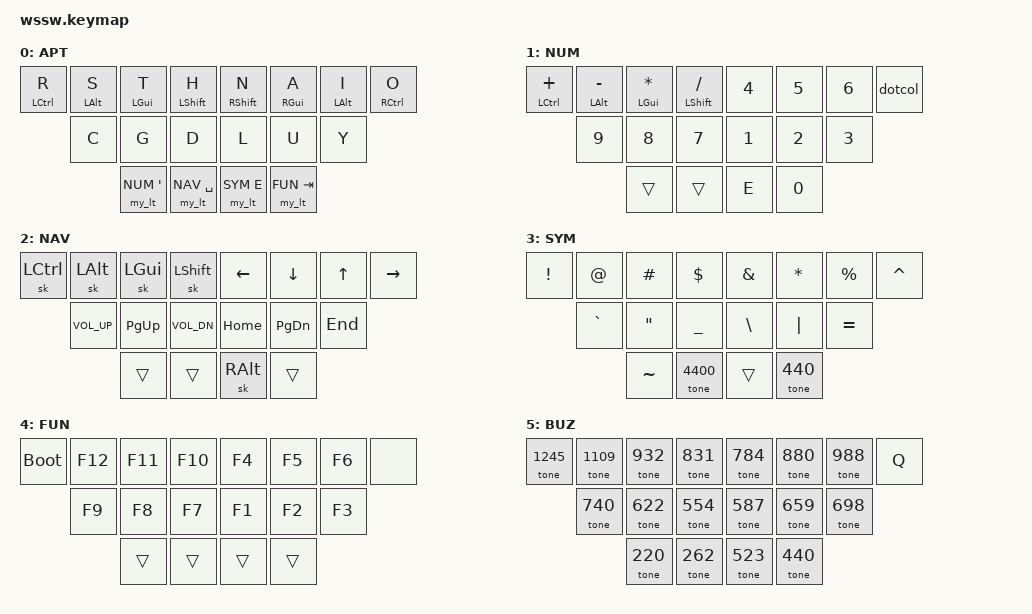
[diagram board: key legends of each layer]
#include <behaviors.dtsi>
#include <dt-bindings/zmk/keys.h>
#include <dt-bindings/zmk/bt.h>
#include <dt-bindings/zmk/outputs.h>
#include <zephyr/dt-bindings/pwm/pwm.h>

#define APT 0
#define NUM 1
#define NAV 2
#define SYM 3
#define FUN 4
#define BUZ 5

// &lt {
//     quick_tap_ms = <170>;
// };

/ {
    chosen {
        zmk,kscan = &kscan_facedown;
    };
};

&caps_word {
    continue-list = <UNDERSCORE MINUS BSPC LSHFT RSHFT>;
};

/ {
    macros {
	// promising candidate, only problem: impossible to hold shift through
	// the activation and still have it registered as held afterwards
        macro_shiftable_sch: macro_shiftable_sch {
            label = "Macro_shiftable_sch";
            compatible = "zmk,behavior-macro";
            #binding-cells = <0>;
            bindings = <
                    &macro_tap &kp S
                    &macro_release &kp RSHIFT
                    &macro_tap &kp C &kp H
            >;
            tap-ms = <10>;
        };
    };
};


#define COMBO(NAME, BINDINGS, KEYPOS) \
combo_##NAME { \
    timeout-ms = <20>; \
    bindings = <BINDINGS>; \
    key-positions = <KEYPOS>; \
};
#define SLOWCOMBO(NAME, BINDINGS, KEYPOS) \
combo_##NAME { \
    timeout-ms = <40>; \
    bindings = <BINDINGS>; \
    key-positions = <KEYPOS>; \
};
#define TCOMBO(NAME, BINDINGS, KEYPOS, TIMEOUT) \
combo_##NAME { \
    timeout-ms = <TIMEOUT>; \
    bindings = <BINDINGS>; \
    key-positions = <KEYPOS>; \
};

#define COMBOS_TOP_ROW(LTPR, LTRM, LTMI, MTII, RTIM, RTMR, RTRP) \
	SLOWCOMBO(_ltpr, LTPR, 0 1) \
	COMBO(_ltrm, LTRM, 1 2) \
	COMBO(_ltmi, LTMI, 2 3) \
	SLOWCOMBO(_mtii, MTII, 3 4) \
	COMBO(_rtim, RTIM, 4 5) \
	COMBO(_rtmr, RTMR, 5 6) \
	SLOWCOMBO(_rtrp, RTRP, 6 7)
#define COMBOS_BOT_ROW(LBRM, LBMI, MBII, RBIM, RBMR) \
	COMBO(_lbrm, LBRM, 8 9) \
	COMBO(_lbmi, LBMI, 9 10) \
	SLOWCOMBO(_mbii, MBII, 10 11) \
	COMBO(_rbim, RBIM, 11 12) \
	COMBO(_rbmr, RBMR, 12 13)


        //                      00      01      02                      03      04      05
        //              06      07      08      09                      10      11      12      13
        //                                      14      15      16      17
/{
    combos {
        compatible = "zmk,combos";
/* alphas */
                     //  0+1    1+2    2+3    3+4    4+5      5+6      6+7
        COMBOS_TOP_ROW(&kp W, &kp M, &kp B, &kp K, &kp V, &comsem, &dotcol)
               COMBOS_BOT_ROW(&kp F, &kp P, &kp J, &kp X, &kp Z)
                            //  8+9   9+10  10+11  11+12  12+13

/* usually on base layer */
        COMBO(q, &kp Q, 8 10)
        COMBO(k, &kp K, 2 10)
        COMBO(j, &kp J, 5 11)
        COMBO(shiftablesch, &macro_shiftable_sch, 1 3)
        COMBO(enter, &kp ENTER, 11 13)
        COMBO(esc, &kp ESC, 0 3)
        COMBO(semi, &kp SEMICOLON, 12 17)
        COMBO(colon, &kp COLON, 13 17)
        COMBO(minus, &kp MINUS, 11 12 17)
        COMBO(slash, &kp SLASH, 12 13 17)
        COMBO(esc2, &kp ESC, 9 10 14)
/* parentheticals */
        COMBO(lt, &kp LT, 1 10)
        COMBO(lbrc, &kp LBRC, 1 8)
        COMBO(lbkt, &kp LBKT, 2 9)
        COMBO(lpar, &kp LPAR, 3 10)
        COMBO(rt, &kp GT, 6 11)
        COMBO(rpar, &kp RPAR, 4 11)
        COMBO(rbkt, &kp RBKT, 5 12)
        COMBO(rbrc, &kp RBRC, 6 13)
/* caps */
        COMBO(caps, &caps_word, 2 5)
        COMBO(capslock, &kp CAPSLOCK, 1 6)
/* deletion */
        COMBO(bspc, &kp BSPC, 4 6)
        SLOWCOMBO(del, &kp DEL, 5 7)
        COMBO(delword, &kp LC(BSPC), 4 7)
/* music */
        SLOWCOMBO(music, &tog BUZ, 0 7 14 17)
    };
};

        //                      00      01      02                      03      04      05
        //              06      07      08      09                      10      11      12      13
        //                                      14      15      16      17

/ {

    behaviors {
        hl: homerow_mods_left {
            compatible = "zmk,behavior-hold-tap";
            label = "homerow mods left";
            #binding-cells = <2>;
            // flavor = "tap-preferred";
            flavor = "balanced";
            tapping-term-ms = <150>;
            quick-tap-ms = <100>;
            // global-quick-tap;
            bindings = <&kp>, <&kp>;
            // opposite side hand keys
            hold-trigger-key-positions = <4 5 6 7 11 12 13 14 15 16 17>;
        };
        hr: homerow_mods_right {
            compatible = "zmk,behavior-hold-tap";
            label = "homerow mods right";
            #binding-cells = <2>;
            // flavor = "tap-preferred";
            flavor = "balanced";
            tapping-term-ms = <150>;
            quick-tap-ms = <100>;
            // global-quick-tap;
            bindings = <&kp>, <&kp>;
            // opposite side hand keys
            hold-trigger-key-positions = <0 1 2 3 8 9 10 14 15 16 17>;
        };

        my_lt: my_layer_taps {
            compatible = "zmk,behavior-hold-tap";
            label = "my layer taps";
            #binding-cells = <2>;
            flavor = "tap-preferred";
            // flavor = "balanced";
            tapping-term-ms = <160>;
            quick-tap-ms = <100>;
            // global-quick-tap;
            bindings = <&mo &kp>, <&kp>;
            // non-thumb keys
            // hold-trigger-key-positions = <0 1 2 3 4 5 6 7 8 9 10 11 12 13>;
        };

        dotcol: dot_colon {
            compatible = "zmk,behavior-mod-morph";
            label = "DOT_COL";
            #binding-cells = <0>;
            bindings = <&kp DOT>, <&kp COLON>;
            mods = <(MOD_LSFT|MOD_RSFT)>;
        };
        comsem: comma_semicolon {
            compatible = "zmk,behavior-mod-morph";
            label = "COM_SEM";
            #binding-cells = <0>;
            bindings = <&kp COMMA>, <&kp SEMI>;
            mods = <(MOD_LSFT|MOD_RSFT)>;
        };

        // buzzer config, copied from sadek baroudi:
        // https://github.com/sadekbaroudi/zmk-fingerpunch-keyboards/blob/main/boards/arm/vulpes_majora_v1/vulpes_majora_v1.keymap#L71
        tone: tone {
            compatible = "chiptuner,behavior-tone";
            #binding-cells = <1>;
            pwms = <&pwm 10 PWM_USEC(20) PWM_POLARITY_NORMAL>;
        };
    };
};


/ {
    keymap {
        compatible = "zmk,keymap";

        aptmak {
            label = "APT";

            bindings = <
                &hl LCTRL R    &hl LALT S     &hl LGUI T     &hl LSHFT H        &hr RSHFT N    &hr RGUI A     &hr LALT I     &hr RCTRL O
                               &kp C          &kp G          &kp D              &kp L          &kp U          &kp Y
                                              &my_lt NUM SQT &my_lt NAV SPACE   &my_lt SYM E   &my_lt FUN TAB
            >;
        };
        numbers {
            label = "NUM";

            bindings = <
                &hl LCTRL PLUS &hl LALT MINUS &hl LGUI STAR  &hl LSHFT SLASH    &kp N4         &kp N5         &kp N6         &dotcol
                               &kp N9         &kp N8         &kp N7             &kp N1         &kp N2         &kp N3
                                              &trans         &trans             &kp E          &kp N0
            >;
        };
        navigation {
            label = "NAV";

            bindings = <
                &sk LCTRL      &sk LALT       &sk LGUI       &sk LSHFT          &kp LEFT       &kp DOWN       &kp UP         &kp RIGHT
                               &kp C_VOL_UP   &kp PG_UP      &kp C_VOL_DN       &kp HOME       &kp PG_DN      &kp END
                                              &trans         &trans             &sk RALT       &trans
            >;
        };
        symbols {
            label = "SYM";

            bindings = <
                &kp EXCL       &kp AT         &kp HASH       &kp DOLLAR         &kp AMPERSAND  &kp ASTERISK   &kp PERCENT    &kp CARET
                               &kp GRAVE      &kp DQT        &kp UNDERSCORE     &kp BACKSLASH  &kp PIPE       &kp EQUAL
                                              &kp TILDE      &tone 4400         &trans         &tone 440
            >;
        };
        function {
            label = "FUN";

            bindings = <
                &bootloader    &kp F12        &kp F11        &kp F10            &kp F4         &kp F5         &kp F6         &none
                               &kp F9         &kp F8         &kp F7             &kp F1         &kp F2         &kp F3
                                              &trans         &trans             &trans         &trans
            >;
        };
        buzz {
            label = "BUZ";
            bindings = <
                &tone 1245     &tone 1109     &tone 932      &tone 831          &tone 784      &tone 880      &tone 988      &kp Q
                               &tone 740      &tone 622      &tone 554          &tone 587      &tone 659      &tone 698
                                              &tone 220      &tone 262          &tone 523      &tone 440
            >;
            //&tone 1047
        };

    };
};
